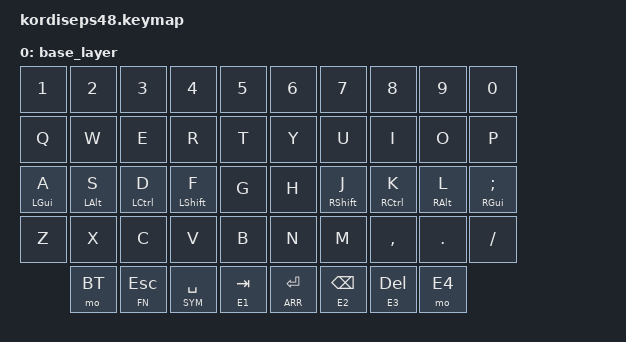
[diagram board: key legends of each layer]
/*
 * Copyright (c) 2024 The ZMK Contributors
 *
 * SPDX-License-Identifier: MIT
 */

#include <behaviors.dtsi>
#include <dt-bindings/zmk/keys.h>

/ {

    keymap {
        compatible = "zmk,keymap";

        // This is a sample keymap intended to be replaced with your own
        base_layer {
			bindings = <
                &kp N1      &kp N2     &kp N3      &kp N4        &kp N5          &kp N6      &kp N7           &kp N8      &kp N9     &kp N0 
                &kp  Q      &kp  W     &kp  E      &kp  R        &kp  T          &kp  Y      &kp  U           &kp  I      &kp  O     &kp  P 
                &mt LGUI A  &mt LALT S &mt LCTRL D &mt LSHFT F   &kp  G          &kp  H      &mt RSHFT J      &mt RCTRL K &mt RALT L &mt RGUI SEMICOLON 
                &kp  Z      &kp  X     &kp  C      &kp  V        &kp  B          &kp  N      &kp  M           &kp  COMMA  &kp  DOT   &kp  SLASH  
                            &mo  BT    &lt FN ESC  &lt SYM SPACE &lt E1 TAB      &lt ARR RET &lt E2 BACKSPACE &lt E3 DEL  &mo E4  
            >;
        };

    };
};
